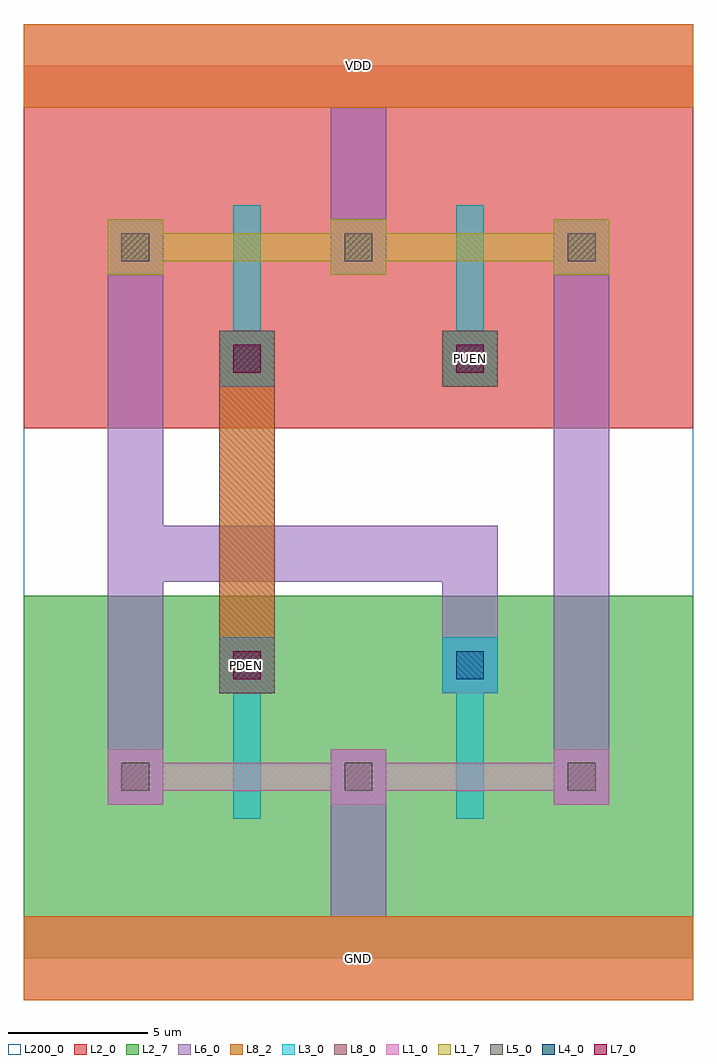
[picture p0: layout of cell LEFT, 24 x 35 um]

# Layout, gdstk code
import gdstk
lib = gdstk.Library(unit=1e-6, precision=1e-09)
def R(c, l, rs):  # rectangles x0, y0, x1, y1
    for r in rs: c.add(gdstk.rectangle(r[:2], r[2:], *l))
def A(c, l, x, y, w, h, nx, ny, dx, dy):  # array of equal rectangles
    R(c, l, [(x+i*dx, y+j*dy, x+i*dx+w, y+j*dy+h) for i in range(nx) for j in range(ny)])
def P(c, l, *ps):  # polygons
    for p in ps: c.add(gdstk.Polygon(p, *l))
L1_0 = (1, 0)
L1_7 = (1, 7)
L2_0 = (2, 0)
L2_7 = (2, 7)
L3_0 = (3, 0)
L4_0 = (4, 0)
L5_0 = (5, 0)
L6_0 = (6, 0)
L7_0 = (7, 0)
L8_0 = (8, 0)
L8_2 = (8, 2)
L200_0 = (200, 0)

left = lib.new_cell('LEFT')
P(left, L1_0, [(3,5.5),(3,7.5),(5,7.5),(5,7),(11,7),(11,7.5),(13,7.5),(13,7),(19,7),(19,7.5),(21,7.5),(21,5.5),(19,5.5),(19,6),(13,6),(13,5.5),(11,5.5),(11,6),(5,6),(5,5.5)])
P(left, L1_7, [(3,24.5),(3,26.5),(5,26.5),(5,26),(11,26),(11,26.5),(13,26.5),(13,26),(19,26),(19,26.5),(21,26.5),(21,24.5),(19,24.5),(19,25),(13,25),(13,24.5),(11,24.5),(11,25),(5,25),(5,24.5)])
R(left, L2_0, [(0,19,24,32)])
R(left, L2_7, [(0,0,24,13)])
P(left, L3_0, [(7.5,5),(7.5,9.5),(7,9.5),(7,11.5),(9,11.5),(9,9.5),(8.5,9.5),(8.5,5)],
  [(15.5,5),(15.5,9.5),(15,9.5),(15,11.5),(17,11.5),(17,9.5),(16.5,9.5),(16.5,5)],
  [(7,20.5),(7,22.5),(7.5,22.5),(7.5,27),(8.5,27),(8.5,22.5),(9,22.5),(9,20.5)],
  [(15,20.5),(15,22.5),(15.5,22.5),(15.5,27),(16.5,27),(16.5,22.5),(17,22.5),(17,20.5)])
R(left, L4_0, [(7.5,10,8.5,11), (15.5,10,16.5,11), (7.5,21,8.5,22), (15.5,21,16.5,22)])
A(left, L5_0, 3.5, 6, 1, 1, 3, 2, 8, 19)
R(left, L6_0, [(19,5.5,21,26.5), (7,9.5,9,11.5), (7,20.5,9,22.5), (15,20.5,17,22.5)])
P(left, L6_0, [(0,-1.5),(0,1.5),(11,1.5),(11,7.5),(13,7.5),(13,1.5),(24,1.5),(24,-1.5)],
  [(3,5.5),(3,26.5),(5,26.5),(5,15.5),(17,15.5),(17,9.5),(15,9.5),(15,13.5),(5,13.5),(5,5.5)],
  [(11,24.5),(11,30.5),(0,30.5),(0,33.5),(24,33.5),(24,30.5),(13,30.5),(13,24.5)])
R(left, L7_0, [(7.5,10,8.5,11), (7.5,21,8.5,22), (15.5,21,16.5,22)])
R(left, L8_0, [(7,9.5,9,22.5), (15,20.5,17,22.5)])
R(left, L8_2, [(7,9.5,9,22.5), (15,20.5,17,22.5)])
R(left, L200_0, [(0,0,24,32)])
left.add(gdstk.FlexPath([(0,32),(24,32)], 3, ends="flush", simple_path=True, layer=8, datatype=2))  # L8_2
left.add(gdstk.FlexPath([(0,0),(24,0)], 3, ends="flush", simple_path=True, layer=8, datatype=2))  # L8_2
left.add(gdstk.Label('GND', (12,0), layer=6, texttype=1))
left.add(gdstk.Label('VDD', (12,32), layer=6, texttype=1))
left.add(gdstk.Label('PDEN', (8,10.5), layer=8, texttype=1))
left.add(gdstk.Label('PUEN', (16,21.5), layer=8, texttype=1))

lib.write_gds('LEFT.gds')
